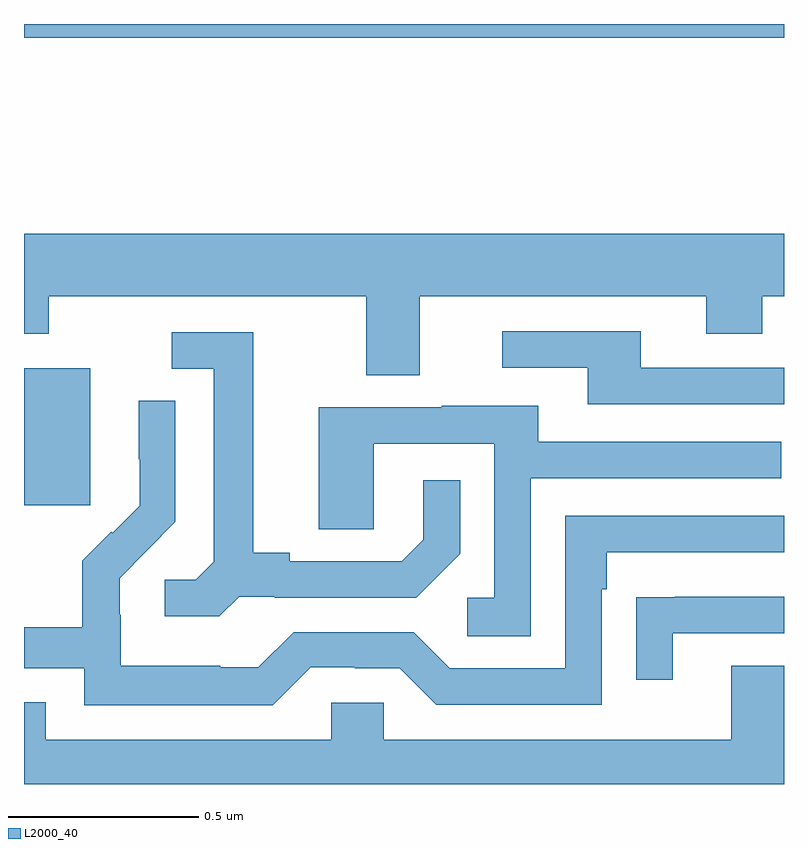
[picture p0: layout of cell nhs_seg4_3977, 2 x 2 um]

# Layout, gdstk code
import gdstk
lib = gdstk.Library(unit=1e-6, precision=1e-09)
def R(c, l, rs):  # rectangles x0, y0, x1, y1
    for r in rs: c.add(gdstk.rectangle(r[:2], r[2:], *l))
def P(c, l, *ps):  # polygons
    for p in ps: c.add(gdstk.Polygon(p, *l))
L2000_40 = (2000, 40)

nhs_seg4_3977 = lib.new_cell('nhs_seg4_3977')
R(nhs_seg4_3977, L2000_40, [(160,765.633,160.174,765.994), (160,766.864,162,766.9)])
P(nhs_seg4_3977, L2000_40, [(161.041,766.184),(161.795,766.184),(161.795,766.085),(161.943,766.085),(161.943,766.184),(162,766.184),(162,766.348),(160,766.348),(160,766.085),(160.065,766.085),(160.065,766.184),(160.901,766.184),(160.901,765.976),(161.041,765.976)],
  [(162,765.996),(161.623,765.996),(161.623,766.092),(161.259,766.092),(161.259,765.996),(161.483,765.996),(161.483,765.9),(162,765.9)],
  [(160.566,765.393),(160.66,765.393),(160.66,765.39),(161.032,765.39),(161.148,765.506),(161.148,765.7),(161.051,765.7),(161.051,765.543),(160.994,765.486),(160.699,765.486),(160.699,765.509),(160.603,765.509),(160.603,766.089),(160.389,766.089),(160.389,765.993),(160.499,765.993),(160.499,765.485),(160.452,765.438),(160.371,765.438),(160.371,765.341),(160.514,765.341)],
  [(160.755,765.207),(160.871,765.207),(160.871,765.204),(160.989,765.204),(161.085,765.108),(161.52,765.108),(161.52,765.413),(161.533,765.413),(161.533,765.51),(162,765.51),(162,765.606),(161.424,765.606),(161.424,765.204),(161.121,765.204),(161.025,765.3),(160.71,765.3),(160.617,765.207),(160.517,765.207),(160.517,765.211),(160.254,765.211),(160.254,765.345),(160.252,765.345),(160.252,765.442),(160.326,765.516),(160.325,765.517),(160.398,765.59),(160.398,765.908),(160.302,765.908),(160.302,765.754),(160.304,765.754),(160.304,765.632),(160.233,765.561),(160.23,765.564),(160.153,765.487),(160.153,765.313),(160,765.313),(160,765.204),(160.158,765.204),(160.158,765.107),(160.655,765.107)],
  [(161.334,765.705),(161.993,765.705),(161.993,765.801),(161.353,765.801),(161.353,765.895),(161.099,765.895),(161.099,765.891),(160.775,765.891),(160.775,765.571),(160.92,765.571),(160.92,765.795),(161.238,765.795),(161.238,765.39),(161.166,765.39),(161.166,765.289),(161.334,765.289)],
  [(161.707,765.297),(162,765.297),(162,765.393),(161.713,765.393),(161.713,765.392),(161.611,765.392),(161.611,765.174),(161.707,765.174)],
  [(162,765.211),(161.861,765.211),(161.861,765.016),(160.947,765.016),(160.947,765.114),(160.809,765.114),(160.809,765.016),(160.057,765.016),(160.057,765.115),(160,765.115),(160,764.9),(162,764.9)])

lib.write_gds('nhs_seg4_3977.gds')
